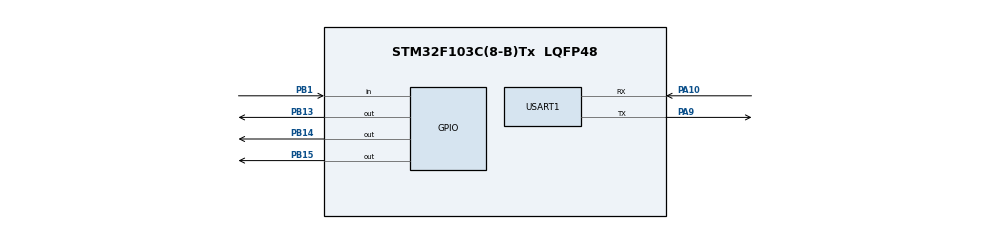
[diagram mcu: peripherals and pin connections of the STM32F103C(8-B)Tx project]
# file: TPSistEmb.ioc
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Mcu.Family=STM32F1
Mcu.Name=STM32F103C(8-B)Tx
Mcu.Package=LQFP48
NVIC.PriorityGroup=NVIC_PRIORITYGROUP_4
NVIC.RCC_IRQn=true\:0\:0\:false\:false\:true\:true\:false\:true
NVIC.USART1_IRQn=true\:0\:0\:false\:false\:true\:true\:true\:true
PA10.Mode=Asynchronous
PA10.Signal=USART1_RX
PA13.Mode=Serial_Wire
PA13.Signal=SYS_JTMS-SWDIO
PA14.Mode=Serial_Wire
PA14.Signal=SYS_JTCK-SWCLK
PA9.Mode=Asynchronous
PA9.Signal=USART1_TX
PB1.GPIO_PuPd=GPIO_NOPULL
PB1.Signal=GPIO_Input
PB13.Signal=GPIO_Output
PB14.Signal=GPIO_Output
PB15.Signal=GPIO_Output
PD0-OSC_IN.Mode=HSE-External-Oscillator
PD0-OSC_IN.Signal=RCC_OSC_IN
PD1-OSC_OUT.Mode=HSE-External-Oscillator
PD1-OSC_OUT.Signal=RCC_OSC_OUT
ProjectManager.HeapSize=0x200
ProjectManager.StackSize=0x400
ProjectManager.TargetToolchain=STM32CubeIDE
RCC.APB1Freq_Value=8000000
RCC.APB2Freq_Value=8000000
RCC.PLLSourceVirtual=RCC_PLLSOURCE_HSE
RCC.USBFreq_Value=16000000
USART1.VirtualMode=VM_ASYNC
board=custom

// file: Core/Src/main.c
/* USER CODE BEGIN Header */
/**
  ******************************************************************************
  * @file           : main.c
  * @brief          : Main program body
  ******************************************************************************
  * @attention
  *
  * Copyright (c) 2023 STMicroelectronics.
  * All rights reserved.
  *
  * This software is licensed under terms that can be found in the LICENSE file
  * in the root directory of this software component.
  * If no LICENSE file comes with this software, it is provided AS-IS.
  *
  ******************************************************************************
  */
/* USER CODE END Header */
#include "main.h"

/* USER CODE BEGIN PD */
#define MAX_BUFFER	10
#define MENSAJE_BIENVENIDA "hola!!! Inicializando...\n"
/* USER CODE END PD */

UART_HandleTypeDef huart1;
uint8_t rx_data;

uint8_t instruccion_ok = 0;

uint32_t milisegundosDebounce = 0;
uint32_t milisegundosActuales = 0;

uint16_t pulseCount;
bool flagPulso;

void SystemClock_Config(void);
static void MX_GPIO_Init(void);
static void MX_USART1_UART_Init(void);
void PulseCountBuff_init(int PulseCountBuff[100]);

int main(void)
{

  /* MCU Configuration--------------------------------------------------------*/

  /* Reset of all peripherals, Initializes the Flash interface and the Systick. */
  HAL_Init();

  /* Configure the system clock */
  SystemClock_Config();

  /* USER CODE BEGIN SysInit */
  Cola_InicializarCola(&cola_tx, buffer_tx, MAX_BUFFER);

  /* USER CODE END SysInit */

  /* Initialize all configured peripherals */
  MX_GPIO_Init();
  MX_USART1_UART_Init();
  /* USER CODE BEGIN 2 */
  ProcessRxMsg_Init();
  LedSequence_init();
  CountingHandler_init(&pulseCount, &flagPulso);
  HAL_UART_Receive_IT(&huart1, &rx_data, 1);
  HAL_UART_Transmit(&huart1, (uint8_t *)MENSAJE_BIENVENIDA, strlen(MENSAJE_BIENVENIDA), 1000);

  /* USER CODE END 2 */

  /* Infinite loop */
  /* USER CODE BEGIN WHILE */
  instruccion_ok = 0;

  while (1)
  {
	  ProcessRxMsg(&huart1, &rx_data, &cola_tx, &instruccion_ok);

	  LedHandler(&instruccion_ok);
	  if (GetFlag()==1){
		  LedSequence();
	  }

	  SendData(&huart1, &cola_tx);

	  if (flagPulso == 1){
		  CountingHandler(&pulseCount, &flagPulso);
	  }

    /* USER CODE END WHILE */

  }
}

void SystemClock_Config(void)
{
  RCC_OscInitTypeDef RCC_OscInitStruct = {0};
  RCC_ClkInitTypeDef RCC_ClkInitStruct = {0};

  /** Initializes the RCC Oscillators according to the specified parameters
  * in the RCC_OscInitTypeDef structure.
  */
  RCC_OscInitStruct.OscillatorType = RCC_OSCILLATORTYPE_HSI;
  RCC_OscInitStruct.HSIState = RCC_HSI_ON;
  RCC_OscInitStruct.HSICalibrationValue = RCC_HSICALIBRATION_DEFAULT;
  RCC_OscInitStruct.PLL.PLLState = RCC_PLL_NONE;
  if (HAL_RCC_OscConfig(&RCC_OscInitStruct) != HAL_OK)
  {
    Error_Handler();
  }

  /** Initializes the CPU, AHB and APB buses clocks
  */
  RCC_ClkInitStruct.ClockType = RCC_CLOCKTYPE_HCLK|RCC_CLOCKTYPE_SYSCLK
                              |RCC_CLOCKTYPE_PCLK1|RCC_CLOCKTYPE_PCLK2;
  RCC_ClkInitStruct.SYSCLKSource = RCC_SYSCLKSOURCE_HSI;
  RCC_ClkInitStruct.AHBCLKDivider = RCC_SYSCLK_DIV1;
  RCC_ClkInitStruct.APB1CLKDivider = RCC_HCLK_DIV1;
  RCC_ClkInitStruct.APB2CLKDivider = RCC_HCLK_DIV1;

  if (HAL_RCC_ClockConfig(&RCC_ClkInitStruct, FLASH_LATENCY_0) != HAL_OK)
  {
    Error_Handler();
  }
}

static void MX_USART1_UART_Init(void)
{

  huart1.Instance = USART1;
  huart1.Init.BaudRate = 115200;
  huart1.Init.WordLength = UART_WORDLENGTH_8B;
  huart1.Init.StopBits = UART_STOPBITS_1;
  huart1.Init.Parity = UART_PARITY_NONE;
  huart1.Init.Mode = UART_MODE_TX_RX;
  huart1.Init.HwFlowCtl = UART_HWCONTROL_NONE;
  huart1.Init.OverSampling = UART_OVERSAMPLING_16;
  if (HAL_UART_Init(&huart1) != HAL_OK)
  {
    Error_Handler();
  }

}

static void MX_GPIO_Init(void)
{
  GPIO_InitTypeDef GPIO_InitStruct = {0};

  /* GPIO Ports Clock Enable */
  __HAL_RCC_GPIOD_CLK_ENABLE();
  __HAL_RCC_GPIOB_CLK_ENABLE();
  __HAL_RCC_GPIOA_CLK_ENABLE();

  /*Configure GPIO pin Output Level */
  HAL_GPIO_WritePin(GPIOB, GPIO_PIN_13|GPIO_PIN_14|GPIO_PIN_15, GPIO_PIN_SET);

  /*Configure GPIO pin : PB1 */
  GPIO_InitStruct.Pin = GPIO_PIN_1;
  GPIO_InitStruct.Mode = GPIO_MODE_IT_FALLING;
  GPIO_InitStruct.Pull = GPIO_PULLUP;
  HAL_GPIO_Init(GPIOB, &GPIO_InitStruct);

  /*Configure GPIO pins : PB13 PB14 PB15 */
  GPIO_InitStruct.Pin = GPIO_PIN_13|GPIO_PIN_14|GPIO_PIN_15;
  GPIO_InitStruct.Mode = GPIO_MODE_OUTPUT_PP;
  GPIO_InitStruct.Pull = GPIO_NOPULL;
  GPIO_InitStruct.Speed = GPIO_SPEED_FREQ_LOW;
  HAL_GPIO_Init(GPIOB, &GPIO_InitStruct);

/* USER CODE BEGIN MX_GPIO_Init_2 */

  /* EXTI interrupt init*/
  HAL_NVIC_SetPriority(EXTI1_IRQn, 0, 0);
  HAL_NVIC_EnableIRQ(EXTI1_IRQn);
//  HAL_GPIO_WritePin(GPIOB, GPIO_PIN_13, GPIO_PIN_SET);
//  HAL_GPIO_WritePin(GPIOB, GPIO_PIN_14, GPIO_PIN_SET);
//  HAL_GPIO_WritePin(GPIOB, GPIO_PIN_15, GPIO_PIN_SET);

/* USER CODE END MX_GPIO_Init_2 */
}

void Error_Handler(void)
{
  __disable_irq();
  while (1)
  {
  }
}

/**
  * @brief  EXTI line detection callbacks.
  * @param  GPIO_Pin: Specifies the pins connected EXTI line
  * @retval None
  */
void HAL_GPIO_EXTI_Callback(uint16_t GPIO_Pin)
{

  milisegundosActuales = HAL_GetTick();
  if (GPIO_Pin == GPIO_PIN_1 && (milisegundosActuales - milisegundosDebounce > 200))
  {
	pulseCount = pulseCount +1;
	flagPulso = 1;
    milisegundosDebounce = milisegundosActuales;
  }

}

/**
  * @brief  Rx Transfer completed callbacks.
  * @param  huart  Pointer to a UART_HandleTypeDef structure that contains
  *                the configuration information for the specified UART module.
  * @retval None
  */
void HAL_UART_RxCpltCallback(UART_HandleTypeDef *huart)
{

	TColaDato_Typedef dato;
	dato = rx_data;
	Cola_AgregarDatoCola (&cola_rx, dato);
	HAL_UART_Receive_IT(&huart1, &rx_data, 1);
}
